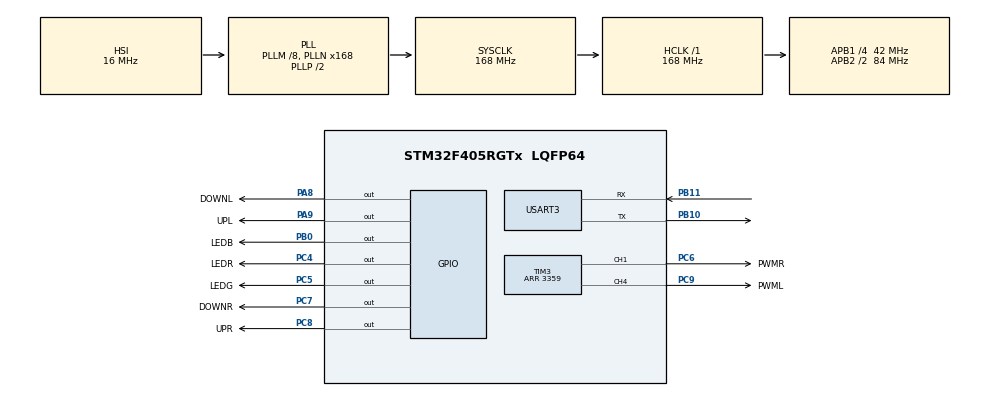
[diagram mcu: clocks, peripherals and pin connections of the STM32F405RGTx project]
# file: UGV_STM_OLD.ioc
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Mcu.Family=STM32F4
Mcu.Name=STM32F405RGTx
Mcu.Package=LQFP64
NVIC.PriorityGroup=NVIC_PRIORITYGROUP_4
NVIC.USART3_IRQn=true\:0\:0\:false\:false\:true\:true\:true
PA13.Mode=Serial_Wire
PA13.Signal=SYS_JTMS-SWDIO
PA14.Mode=Serial_Wire
PA14.Signal=SYS_JTCK-SWCLK
PA8.GPIO_Label=DOWNL
PA8.Signal=GPIO_Output
PA9.GPIO_Label=UPL
PA9.Signal=GPIO_Output
PB0.GPIO_Label=LEDB
PB0.Signal=GPIO_Output
PB10.Mode=Asynchronous
PB10.Signal=USART3_TX
PB11.Mode=Asynchronous
PB11.Signal=USART3_RX
PC4.GPIO_Label=LEDR
PC4.Signal=GPIO_Output
PC5.GPIO_Label=LEDG
PC5.Signal=GPIO_Output
PC6.GPIO_Label=PWMR
PC6.Signal=S_TIM3_CH1
PC7.GPIO_Label=DOWNR
PC7.Signal=GPIO_Output
PC8.GPIO_Label=UPR
PC8.Signal=GPIO_Output
PC9.GPIO_Label=PWML
PC9.Signal=S_TIM3_CH4
PH0-OSC_IN.Mode=HSE-External-Clock-Source
PH0-OSC_IN.Signal=RCC_OSC_IN
PH1-OSC_OUT.Mode=HSE-External-Clock-Source
PH1-OSC_OUT.Signal=RCC_OSC_OUT
ProjectManager.HeapSize=0x200
ProjectManager.StackSize=0x400
ProjectManager.TargetToolchain=STM32CubeIDE
RCC.48MHZClocksFreq_Value=84000000
RCC.AHBFreq_Value=168000000
RCC.APB1CLKDivider=RCC_HCLK_DIV4
RCC.APB1Freq_Value=42000000
RCC.APB1TimFreq_Value=84000000
RCC.APB2CLKDivider=RCC_HCLK_DIV2
RCC.APB2Freq_Value=84000000
RCC.APB2TimFreq_Value=168000000
RCC.CortexFreq_Value=168000000
RCC.HCLKFreq_Value=168000000
RCC.HSE_VALUE=16000000
RCC.HSI_VALUE=16000000
RCC.LSE_VALUE=32768
RCC.PLLM=8
RCC.PLLN=168
RCC.SYSCLKFreq_VALUE=168000000
RCC.SYSCLKSource=RCC_SYSCLKSOURCE_PLLCLK
RCC.VCOOutputFreq_Value=336000000
SH.S_TIM3_CH1.0=TIM3_CH1,PWM Generation1 CH1
SH.S_TIM3_CH4.0=TIM3_CH4,PWM Generation4 CH4
TIM3.Channel-PWM\ Generation1\ CH1=TIM_CHANNEL_1
TIM3.Channel-PWM\ Generation4\ CH4=TIM_CHANNEL_4
TIM3.Period=3359
USART3.VirtualMode=VM_ASYNC
board=custom

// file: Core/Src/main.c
/* USER CODE BEGIN Header */
/**
  ******************************************************************************
  * @file           : main.c
  * @brief          : Main program body
  ******************************************************************************
  * @attention
  *
  * <h2><center>&copy; Copyright (c) 2020 STMicroelectronics.
  * All rights reserved.</center></h2>
  *
  * This software component is licensed by ST under BSD 3-Clause license,
  * the "License"; You may not use this file except in compliance with the
  * License. You may obtain a copy of the License at:
  *                        opensource.org/licenses/BSD-3-Clause
  *
  ******************************************************************************
  */
/* USER CODE END Header */
#include "main.h"
#include "UART/uart.h"

/* USER CODE BEGIN PD */
#define maxblock 3
/* USER CODE END PD */

TIM_HandleTypeDef htim3;

UART_HandleTypeDef huart3;

/* USER CODE BEGIN PV */
char UARTgetchar[1],UARTbuffer[20];
uint8_t SpeedLeft,SpeedRight,direct;
uint8_t newblockdata=0;
uint32_t globaldata=0;

/* USER CODE END PV */

void SystemClock_Config(void);
static void MX_GPIO_Init(void);
static void MX_TIM3_Init(void);
static void MX_USART3_UART_Init(void);

/* USER CODE BEGIN 0 */
void HAL_UART_RxCpltCallback(UART_HandleTypeDef *huart)
{
	if(huart->Instance==USART3)
	{
		if(newblockdata==0)
			getdata();
		HAL_UART_Receive_IT(&huart3, UARTgetchar, 1);
	}
}

void sys_init()
{
	htim3.Instance->CCR1=0;
	htim3.Instance->CCR4=0;
	HAL_GPIO_WritePin(UPR_GPIO_Port, UPR_Pin, RESET);
	HAL_GPIO_WritePin(UPL_GPIO_Port, UPL_Pin, RESET);
	HAL_GPIO_WritePin(DOWNL_GPIO_Port, DOWNL_Pin, RESET);
	HAL_GPIO_WritePin(DOWNR_GPIO_Port, DOWNR_Pin, RESET);
}

void MotorControlSpeed(uint16_t SpeedMotorLeft,uint16_t SpeedMotorRight,uint8_t direct)
{
	switch (direct) {
		case 0:
			HAL_GPIO_WritePin(UPR_GPIO_Port, UPR_Pin, SET);
			HAL_GPIO_WritePin(UPL_GPIO_Port, UPL_Pin, SET);
			HAL_GPIO_WritePin(DOWNL_GPIO_Port, DOWNL_Pin, RESET);
			HAL_GPIO_WritePin(DOWNR_GPIO_Port, DOWNR_Pin, RESET);
			break;
		case 1:
			HAL_GPIO_WritePin(UPR_GPIO_Port, UPR_Pin, RESET);
			HAL_GPIO_WritePin(UPL_GPIO_Port, UPL_Pin, SET);
			HAL_GPIO_WritePin(DOWNL_GPIO_Port, DOWNL_Pin, RESET);
			HAL_GPIO_WritePin(DOWNR_GPIO_Port, DOWNR_Pin, SET);
			break;
		case 2:
			HAL_GPIO_WritePin(UPR_GPIO_Port, UPR_Pin, SET);
			HAL_GPIO_WritePin(UPL_GPIO_Port, UPL_Pin, RESET);
			HAL_GPIO_WritePin(DOWNL_GPIO_Port, DOWNL_Pin, SET);
			HAL_GPIO_WritePin(DOWNR_GPIO_Port, DOWNR_Pin, RESET);
			break;
		case 3:
			HAL_GPIO_WritePin(UPR_GPIO_Port, UPR_Pin, RESET);
			HAL_GPIO_WritePin(UPL_GPIO_Port, UPL_Pin, RESET);
			HAL_GPIO_WritePin(DOWNL_GPIO_Port, DOWNL_Pin, SET);
			HAL_GPIO_WritePin(DOWNR_GPIO_Port, DOWNR_Pin, SET);
			break;
		default:
			break;
	}
	SpeedMotorLeft*=30;
	SpeedMotorRight*=30;
	htim3.Instance->CCR1=SpeedMotorLeft;
	htim3.Instance->CCR4=SpeedMotorRight;
}
/* USER CODE END 0 */

int main(void)
{

  /* MCU Configuration--------------------------------------------------------*/

  /* Reset of all peripherals, Initializes the Flash interface and the Systick. */
  HAL_Init();

  /* Configure the system clock */
  SystemClock_Config();

  /* Initialize all configured peripherals */
  MX_GPIO_Init();
  MX_TIM3_Init();
  MX_USART3_UART_Init();
  /* USER CODE BEGIN 2 */
  sys_init();
  HAL_TIM_PWM_Start(&htim3, TIM_CHANNEL_1);
  HAL_TIM_PWM_Start(&htim3, TIM_CHANNEL_4);
  HAL_UART_Receive_IT(&huart3, UARTgetchar, 1);
  /* USER CODE END 2 */

  /* Infinite loop */
  while (1)
  {
	  if(newblockdata==1)
 	  {
		  int UARTcheckint;
		  char UARTcheck[1];
		  UARTcheck[0]=UARTbuffer[7];
		  UARTcheckint=strtol(UARTcheck,&UARTcheck,10);
  		  if(strlen(UARTbuffer)==UARTcheckint)
  		  {
  			  char SpeedLeftChar[4],SpeedRightChar[4],directChar[2];
  			  HAL_GPIO_TogglePin(LEDR_GPIO_Port, LEDR_Pin);
  			  for (int var = 0; var < maxblock; var++)
  			  {
  			  	  SpeedLeftChar[var]=UARTbuffer[var];
  			  	  SpeedRightChar[var]=UARTbuffer[var + maxblock];
  			  }
  			  directChar[0]=UARTbuffer[maxblock*2];
  			  SpeedLeft=strtol(SpeedLeftChar,&SpeedLeftChar,10);
  			  SpeedRight=strtol(SpeedRightChar,&SpeedRightChar,10);
  			  direct=strtol(directChar,&directChar,10);
  			  MotorControlSpeed(SpeedLeft, SpeedRight,direct);
  		  }
  		  newblockdata=0;
  	  }
  }
}

void SystemClock_Config(void)
{
  RCC_OscInitTypeDef RCC_OscInitStruct = {0};
  RCC_ClkInitTypeDef RCC_ClkInitStruct = {0};

  /** Configure the main internal regulator output voltage
  */
  __HAL_RCC_PWR_CLK_ENABLE();
  __HAL_PWR_VOLTAGESCALING_CONFIG(PWR_REGULATOR_VOLTAGE_SCALE1);
  /** Initializes the RCC Oscillators according to the specified parameters
  * in the RCC_OscInitTypeDef structure.
  */
  RCC_OscInitStruct.OscillatorType = RCC_OSCILLATORTYPE_HSI;
  RCC_OscInitStruct.HSIState = RCC_HSI_ON;
  RCC_OscInitStruct.HSICalibrationValue = RCC_HSICALIBRATION_DEFAULT;
  RCC_OscInitStruct.PLL.PLLState = RCC_PLL_ON;
  RCC_OscInitStruct.PLL.PLLSource = RCC_PLLSOURCE_HSI;
  RCC_OscInitStruct.PLL.PLLM = 8;
  RCC_OscInitStruct.PLL.PLLN = 168;
  RCC_OscInitStruct.PLL.PLLP = RCC_PLLP_DIV2;
  RCC_OscInitStruct.PLL.PLLQ = 4;
  if (HAL_RCC_OscConfig(&RCC_OscInitStruct) != HAL_OK)
  {
    Error_Handler();
  }
  /** Initializes the CPU, AHB and APB buses clocks
  */
  RCC_ClkInitStruct.ClockType = RCC_CLOCKTYPE_HCLK|RCC_CLOCKTYPE_SYSCLK
                              |RCC_CLOCKTYPE_PCLK1|RCC_CLOCKTYPE_PCLK2;
  RCC_ClkInitStruct.SYSCLKSource = RCC_SYSCLKSOURCE_PLLCLK;
  RCC_ClkInitStruct.AHBCLKDivider = RCC_SYSCLK_DIV1;
  RCC_ClkInitStruct.APB1CLKDivider = RCC_HCLK_DIV4;
  RCC_ClkInitStruct.APB2CLKDivider = RCC_HCLK_DIV2;

  if (HAL_RCC_ClockConfig(&RCC_ClkInitStruct, FLASH_LATENCY_5) != HAL_OK)
  {
    Error_Handler();
  }
}

static void MX_TIM3_Init(void)
{

  TIM_MasterConfigTypeDef sMasterConfig = {0};
  TIM_OC_InitTypeDef sConfigOC = {0};

  htim3.Instance = TIM3;
  htim3.Init.Prescaler = 0;
  htim3.Init.CounterMode = TIM_COUNTERMODE_UP;
  htim3.Init.Period = 3359;
  htim3.Init.ClockDivision = TIM_CLOCKDIVISION_DIV1;
  htim3.Init.AutoReloadPreload = TIM_AUTORELOAD_PRELOAD_DISABLE;
  if (HAL_TIM_PWM_Init(&htim3) != HAL_OK)
  {
    Error_Handler();
  }
  sMasterConfig.MasterOutputTrigger = TIM_TRGO_RESET;
  sMasterConfig.MasterSlaveMode = TIM_MASTERSLAVEMODE_DISABLE;
  if (HAL_TIMEx_MasterConfigSynchronization(&htim3, &sMasterConfig) != HAL_OK)
  {
    Error_Handler();
  }
  sConfigOC.OCMode = TIM_OCMODE_PWM1;
  sConfigOC.Pulse = 0;
  sConfigOC.OCPolarity = TIM_OCPOLARITY_HIGH;
  sConfigOC.OCFastMode = TIM_OCFAST_DISABLE;
  if (HAL_TIM_PWM_ConfigChannel(&htim3, &sConfigOC, TIM_CHANNEL_1) != HAL_OK)
  {
    Error_Handler();
  }
  if (HAL_TIM_PWM_ConfigChannel(&htim3, &sConfigOC, TIM_CHANNEL_4) != HAL_OK)
  {
    Error_Handler();
  }
  HAL_TIM_MspPostInit(&htim3);

}

static void MX_USART3_UART_Init(void)
{

  huart3.Instance = USART3;
  huart3.Init.BaudRate = 115200;
  huart3.Init.WordLength = UART_WORDLENGTH_8B;
  huart3.Init.StopBits = UART_STOPBITS_1;
  huart3.Init.Parity = UART_PARITY_NONE;
  huart3.Init.Mode = UART_MODE_TX_RX;
  huart3.Init.HwFlowCtl = UART_HWCONTROL_NONE;
  huart3.Init.OverSampling = UART_OVERSAMPLING_16;
  if (HAL_UART_Init(&huart3) != HAL_OK)
  {
    Error_Handler();
  }

}

static void MX_GPIO_Init(void)
{
  GPIO_InitTypeDef GPIO_InitStruct = {0};

  /* GPIO Ports Clock Enable */
  __HAL_RCC_GPIOH_CLK_ENABLE();
  __HAL_RCC_GPIOC_CLK_ENABLE();
  __HAL_RCC_GPIOB_CLK_ENABLE();
  __HAL_RCC_GPIOA_CLK_ENABLE();

  /*Configure GPIO pin Output Level */
  HAL_GPIO_WritePin(GPIOC, LEDR_Pin|LEDG_Pin|DOWNR_Pin|UPR_Pin, GPIO_PIN_RESET);

  /*Configure GPIO pin Output Level */
  HAL_GPIO_WritePin(LEDB_GPIO_Port, LEDB_Pin, GPIO_PIN_RESET);

  /*Configure GPIO pin Output Level */
  HAL_GPIO_WritePin(GPIOA, DOWNL_Pin|UPL_Pin, GPIO_PIN_RESET);

  /*Configure GPIO pins : LEDR_Pin LEDG_Pin DOWNR_Pin UPR_Pin */
  GPIO_InitStruct.Pin = LEDR_Pin|LEDG_Pin|DOWNR_Pin|UPR_Pin;
  GPIO_InitStruct.Mode = GPIO_MODE_OUTPUT_PP;
  GPIO_InitStruct.Pull = GPIO_NOPULL;
  GPIO_InitStruct.Speed = GPIO_SPEED_FREQ_LOW;
  HAL_GPIO_Init(GPIOC, &GPIO_InitStruct);

  /*Configure GPIO pin : LEDB_Pin */
  GPIO_InitStruct.Pin = LEDB_Pin;
  GPIO_InitStruct.Mode = GPIO_MODE_OUTPUT_PP;
  GPIO_InitStruct.Pull = GPIO_NOPULL;
  GPIO_InitStruct.Speed = GPIO_SPEED_FREQ_LOW;
  HAL_GPIO_Init(LEDB_GPIO_Port, &GPIO_InitStruct);

  /*Configure GPIO pins : DOWNL_Pin UPL_Pin */
  GPIO_InitStruct.Pin = DOWNL_Pin|UPL_Pin;
  GPIO_InitStruct.Mode = GPIO_MODE_OUTPUT_PP;
  GPIO_InitStruct.Pull = GPIO_NOPULL;
  GPIO_InitStruct.Speed = GPIO_SPEED_FREQ_LOW;
  HAL_GPIO_Init(GPIOA, &GPIO_InitStruct);

}

void Error_Handler(void)
{
}

/************************ (C) COPYRIGHT STMicroelectronics *****END OF FILE****/
